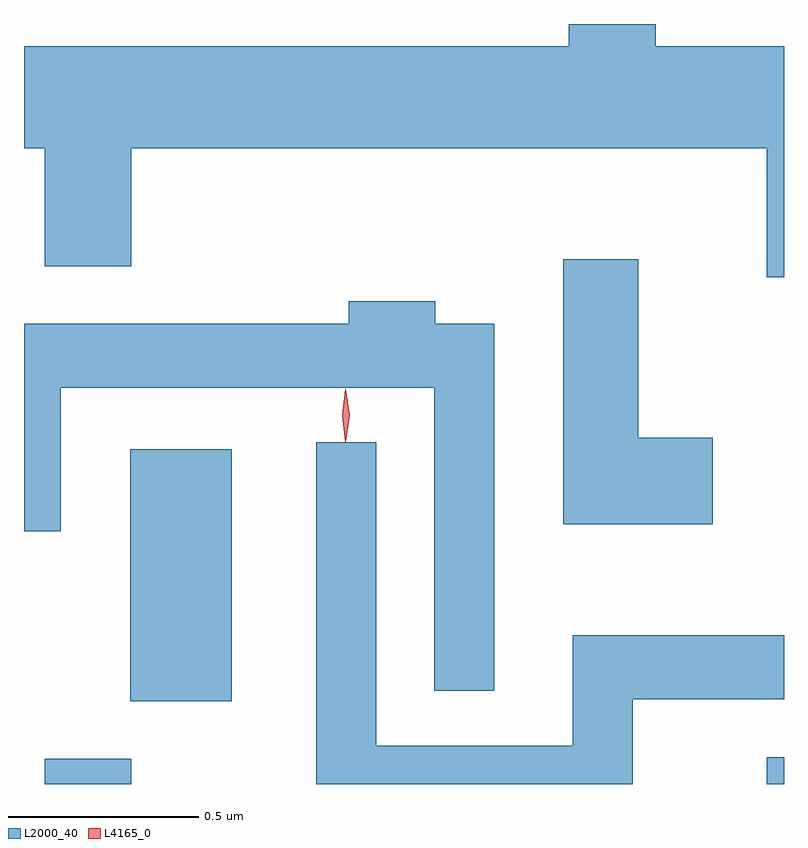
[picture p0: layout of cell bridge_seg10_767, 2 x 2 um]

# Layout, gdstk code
import gdstk
lib = gdstk.Library(unit=1e-6, precision=1e-09)
def R(c, l, rs):  # rectangles x0, y0, x1, y1
    for r in rs: c.add(gdstk.rectangle(r[:2], r[2:], *l))
def P(c, l, *ps):  # polygons
    for p in ps: c.add(gdstk.Polygon(p, *l))
L2000_40 = (2000, 40)
L4165_0 = (4165, 0)

bridge_seg10_767 = lib.new_cell('bridge_seg10_767')
R(bridge_seg10_767, L2000_40, [(949.491,2123.343,949.719,2123.409), (951.391,2123.343,951.437,2123.414), (949.716,2123.561,949.984,2124.224)])
P(bridge_seg10_767, L2000_40, [(951.437,2125.284),(951.099,2125.284),(951.099,2125.343),(950.871,2125.343),(950.871,2125.284),(949.437,2125.284),(949.437,2125.016),(949.491,2125.016),(949.491,2124.706),(949.719,2124.706),(949.719,2125.016),(951.391,2125.016),(951.391,2124.676),(951.437,2124.676)],
  [(951.249,2124.254),(951.054,2124.254),(951.054,2124.724),(950.856,2124.724),(950.856,2124.026),(951.249,2124.026)],
  [(950.674,2124.554),(950.519,2124.554),(950.519,2124.614),(950.291,2124.614),(950.291,2124.554),(949.437,2124.554),(949.437,2124.008),(949.534,2124.008),(949.534,2124.386),(950.516,2124.386),(950.516,2123.588),(950.674,2123.588)],
  [(951.039,2123.566),(951.437,2123.566),(951.437,2123.734),(950.881,2123.734),(950.881,2123.444),(950.364,2123.444),(950.364,2124.243),(950.206,2124.243),(950.206,2123.343),(951.039,2123.343)])
P(bridge_seg10_767, L4165_0, [(950.283,2124.247),(950.274,2124.314),(950.283,2124.38),(950.284,2124.38),(950.284,2124.38),(950.294,2124.314),(950.284,2124.247),(950.284,2124.247)],
  [(950.283,2124.244),(950.274,2124.314),(950.283,2124.382),(950.284,2124.383),(950.284,2124.382),(950.294,2124.314),(950.284,2124.244),(950.284,2124.244)])

lib.write_gds('bridge_seg10_767.gds')
